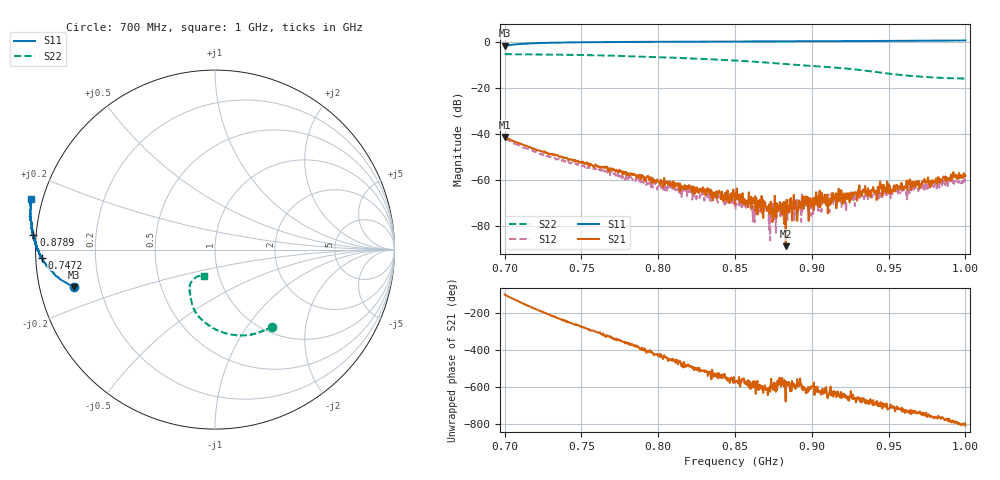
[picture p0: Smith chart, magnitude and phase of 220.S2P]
! C:\Users\rflab\Downloads\Lab5_KD_ZW\Q2\728 MHz\220.S2P
! Touchstone 1.1 file saved by VNA.EXE V1.65 (www.ke5fx.com/gpib/readme.htm)
! 11/18/2024 9:23:17 PM
!  Source: HEWLETT PACKARD,8753D,0,6.14
!  Min freq: 7.000000E+008 Hz
!  Max freq: 1.000000E+009 Hz
!  Points: 801
!  Params: S11 S21 S12 S22
# GHZ S MA R 50
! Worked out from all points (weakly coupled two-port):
!   801 points, 700 MHz to 1 GHz, reference 50 ohm
!   highest |S21| = -41.41 dB at 700 MHz (marker M1); lowest = -88.9 dB at 883 MHz (marker M2)
!   lowest |S11| = -1.8 dB at 700 MHz (marker M3), VSWR 9.66, Z = 5.26 - j6.42 ohm
!   |S11| at or under -10 dB: nowhere
!   |S22| runs from -16.0 to -5.4 dB; largest |S21 - S12| = 0.0027
!   S11 on the Smith chart (normalised r, x): 700 MHz: 0.11, -0.13; 747.2 MHz: 0.02, -0.02; 878.9 MHz: -0.01, +0.04; 1 GHz: -0.03, +0.14
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0.7  0.8124 -165.2  0.008501 -99.2  0.008038 -116.6  0.5356 -53.5
0.74725  0.9659 -177.3  0.002452 94.4  0.002144 74.3  0.5139 -67.0
0.75025  0.9704 -177.6  0.002351 87.7  0.001984 65.1  0.5124 -68.1
0.800125  0.9943 178.9  0.000898 -70.4  0.000821 -85.4  0.4609 -85.3
0.845125  1.009 176.7  0.000586 153.0  0.000306 139.8  0.3964 -100.9
0.85  1.013 176.4  0.000298 150.1  0.000248 141.8  0.3892 -102.5
0.857125  1.011 176.5  0.000346 149.5  0.000243 135.1  0.377 -105.1
0.86125  1.011 176.1  0.000369 116.3  0.000284 91.9  0.3684 -106.4
0.87025  1.014 175.9  0.000253 110.6  0.000258 108.8  0.352 -109.6
0.873625  1.013 175.6  0.000289 163.8  0.00022 105.4  0.3443 -110.6
0.8755  1.015 175.5  0.000182 143.3  0.000173 86.6  0.3415 -111.2
0.878875  1.015 175.3  0.000265 169.0  0.000239 136.2  0.3347 -112.2
0.883  1.017 175.1  3.6e-05 40.5  0.000151 135.7  0.3261 -113.3
0.88525  1.016 175.1  0.000197 147.0  0.000176 136.2  0.3228 -113.8
0.89125  1.022 174.7  0.000221 136.8  0.000247 85.4  0.3114 -115.2
0.895  1.021 174.6  0.000304 119.6  0.000347 88.2  0.3048 -116.0
0.90025  1.023 174.3  0.000373 125.5  0.000249 116.9  0.2968 -117.2
0.917125  1.026 173.4  0.000334 93.2  0.000509 77.9  0.2699 -121.7
0.920875  1.029 173.3  0.000401 77.4  0.000414 60.0  0.2625 -122.8
0.92425  1.028 173.1  0.000432 45.0  0.000502 41.8  0.2578 -123.6
0.950125  1.044 170.9  0.000507 -0.2  0.000623 1.3  0.2026 -126.0
1  1.062 164.6  0.001224 -89.4  0.00089 -104.9  0.1585 -111.8
